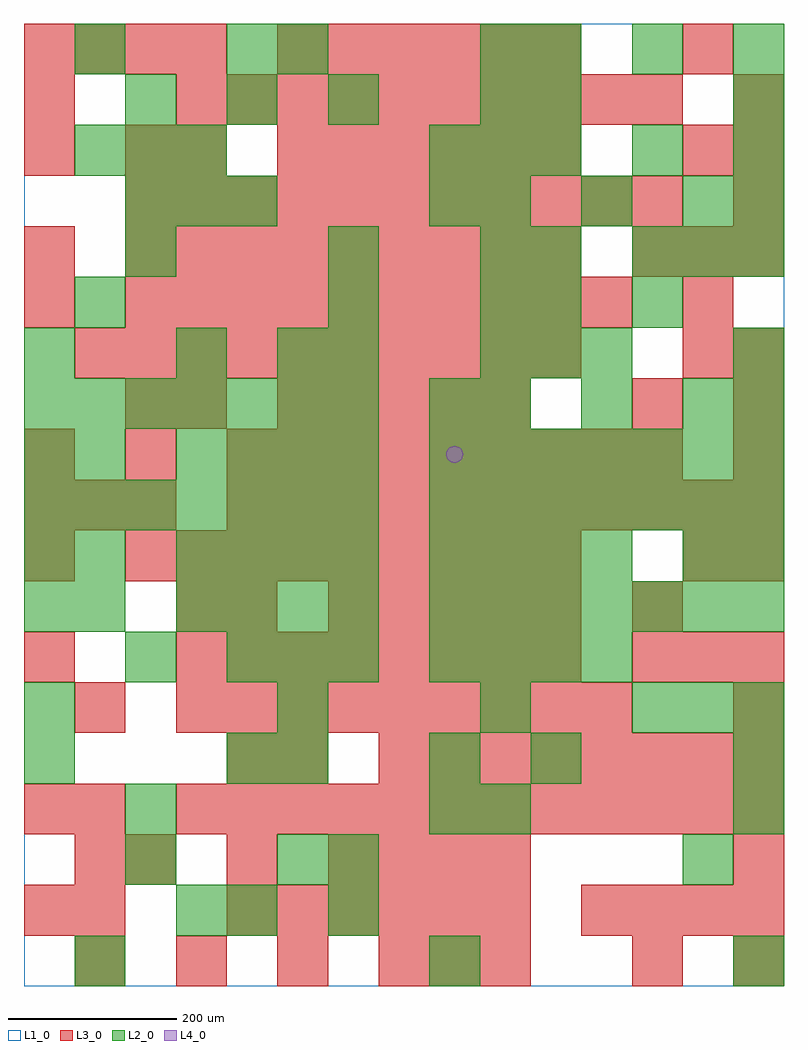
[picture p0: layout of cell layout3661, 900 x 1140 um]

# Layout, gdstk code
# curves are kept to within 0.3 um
import gdstk
lib = gdstk.Library(unit=1e-6, precision=1e-09)
def R(c, l, rs):  # rectangles x0, y0, x1, y1
    for r in rs: c.add(gdstk.rectangle(r[:2], r[2:], *l))
def A(c, l, x, y, w, h, nx, ny, dx, dy):  # array of equal rectangles
    R(c, l, [(x+i*dx, y+j*dy, x+i*dx+w, y+j*dy+h) for i in range(nx) for j in range(ny)])
def P(c, l, *ps):  # polygons
    for p in ps: c.add(gdstk.Polygon(p, *l))
L1_0 = (1, 0)
L2_0 = (2, 0)
L3_0 = (3, 0)
L4_0 = (4, 0)

layout3661 = lib.new_cell('layout3661')
R(layout3661, L1_0, [(0,0,900,1140)])
A(layout3661, L2_0, 720, 300, 60, 60, 3, 2, 60, 540)
A(layout3661, L2_0, 240, 360, 60, 60, 3, 1, 60, 0)
A(layout3661, L2_0, 480, 360, 60, 60, 4, 2, 60, 120)
A(layout3661, L2_0, 180, 420, 60, 60, 4, 2, 60, 60)
A(layout3661, L2_0, 480, 420, 60, 60, 7, 2, 60, 120)
A(layout3661, L2_0, 0, 480, 60, 60, 1, 3, 0, 120)
A(layout3661, L2_0, 0, 540, 60, 60, 7, 2, 60, 120)
A(layout3661, L2_0, 180, 600, 60, 60, 4, 1, 60, 0)
A(layout3661, L2_0, 480, 600, 60, 60, 7, 1, 60, 0)
A(layout3661, L2_0, 540, 660, 60, 60, 3, 2, 120, 240)
A(layout3661, L2_0, 360, 720, 60, 60, 1, 3, 0, 60)
A(layout3661, L2_0, 540, 720, 60, 60, 3, 1, 60, 0)
A(layout3661, L2_0, 120, 900, 60, 60, 3, 1, 60, 0)
A(layout3661, L2_0, 840, 900, 60, 60, 1, 3, 0, 60)
A(layout3661, L2_0, 60, 960, 60, 60, 3, 1, 60, 0)
A(layout3661, L2_0, 480, 960, 60, 60, 3, 1, 60, 0)
A(layout3661, L2_0, 120, 1020, 60, 60, 3, 1, 120, 0)
A(layout3661, L2_0, 600, 1080, 60, 60, 3, 1, 120, 0)
R(layout3661, L2_0, [(60,0,120,60), (480,0,540,60), (840,0,900,60), (180,60,240,120), (240,60,300,120), (360,60,420,120), (120,120,180,180), (300,120,360,180), (360,120,420,180), (780,120,840,180), (120,180,180,240), (480,180,540,240), (540,180,600,240), (840,180,900,240), (0,240,60,300), (240,240,300,300), (300,240,360,300), (480,240,540,300), (600,240,660,300), (840,240,900,300), (0,300,60,360), (300,300,360,360), (540,300,600,360), (120,360,180,420), (0,420,60,480), (60,420,120,480), (60,480,120,540), (780,480,840,540), (840,480,900,540), (60,600,120,660), (480,660,540,720), (840,660,900,720), (180,720,240,780), (300,720,360,780), (840,720,900,780), (60,780,120,840), (540,780,600,840), (600,780,660,840), (720,780,780,840), (120,840,180,900), (540,840,600,900), (600,840,660,900), (480,900,540,960), (720,960,780,1020), (540,1020,600,1080), (600,1020,660,1080), (60,1080,120,1140), (240,1080,300,1140), (300,1080,360,1140), (540,1080,600,1140)])
A(layout3661, L3_0, 60, 0, 60, 60, 4, 1, 120, 0)
A(layout3661, L3_0, 60, 60, 60, 60, 1, 3, 0, 60)
A(layout3661, L3_0, 240, 60, 60, 60, 6, 1, 60, 0)
A(layout3661, L3_0, 660, 60, 60, 60, 4, 1, 60, 0)
A(layout3661, L3_0, 120, 120, 60, 60, 3, 1, 120, 0)
A(layout3661, L3_0, 420, 120, 60, 60, 3, 1, 60, 0)
A(layout3661, L3_0, 840, 120, 60, 60, 1, 3, 0, 180)
A(layout3661, L3_0, 180, 180, 60, 60, 12, 1, 60, 0)
A(layout3661, L3_0, 420, 240, 60, 60, 8, 1, 60, 0)
A(layout3661, L3_0, 180, 300, 60, 60, 9, 1, 60, 0)
A(layout3661, L3_0, 180, 360, 60, 60, 8, 1, 60, 0)
A(layout3661, L3_0, 720, 360, 60, 60, 3, 2, 60, 480)
A(layout3661, L3_0, 360, 420, 60, 60, 5, 1, 60, 0)
A(layout3661, L3_0, 120, 480, 60, 60, 9, 2, 60, 360)
A(layout3661, L3_0, 0, 540, 60, 60, 3, 1, 60, 0)
A(layout3661, L3_0, 240, 540, 60, 60, 11, 1, 60, 0)
A(layout3661, L3_0, 0, 600, 60, 60, 3, 1, 120, 0)
A(layout3661, L3_0, 300, 600, 60, 60, 8, 1, 60, 0)
A(layout3661, L3_0, 840, 600, 60, 60, 1, 3, 0, 60)
A(layout3661, L3_0, 300, 660, 60, 60, 5, 1, 60, 0)
A(layout3661, L3_0, 60, 720, 60, 60, 10, 1, 60, 0)
A(layout3661, L3_0, 120, 780, 60, 60, 10, 1, 60, 0)
A(layout3661, L3_0, 120, 900, 60, 60, 11, 1, 60, 0)
A(layout3661, L3_0, 840, 900, 60, 60, 1, 3, 0, 60)
A(layout3661, L3_0, 300, 960, 60, 60, 6, 2, 60, 120)
A(layout3661, L3_0, 180, 1020, 60, 60, 10, 1, 60, 0)
A(layout3661, L3_0, 0, 1080, 60, 60, 4, 1, 60, 0)
R(layout3661, L3_0, [(480,0,540,60), (540,0,600,60), (720,0,780,60), (840,0,900,60), (0,60,60,120), (0,180,60,240), (240,240,300,300), (300,240,360,300), (60,300,120,360), (0,360,60,420), (180,420,240,480), (240,420,300,480), (720,420,780,480), (0,480,60,540), (780,480,840,540), (120,660,180,720), (180,660,240,720), (720,660,780,720), (780,720,840,780), (0,780,60,840), (780,780,840,840), (0,840,60,900), (0,960,60,1020), (120,960,180,1020), (180,960,240,1020), (780,960,840,1020), (0,1020,60,1080), (780,1080,840,1140)])
P(layout3661, L4_0, [(520,630),(519.239,633.827),(517.071,637.071),(513.827,639.239),(510,640),(506.173,639.239),(502.929,637.071),(500.761,633.827),(500,630),(500.761,626.173),(502.929,622.929),(506.173,620.761),(510,620),(513.827,620.761),(517.071,622.929),(519.239,626.173)])

lib.write_gds('layout3661.gds')
